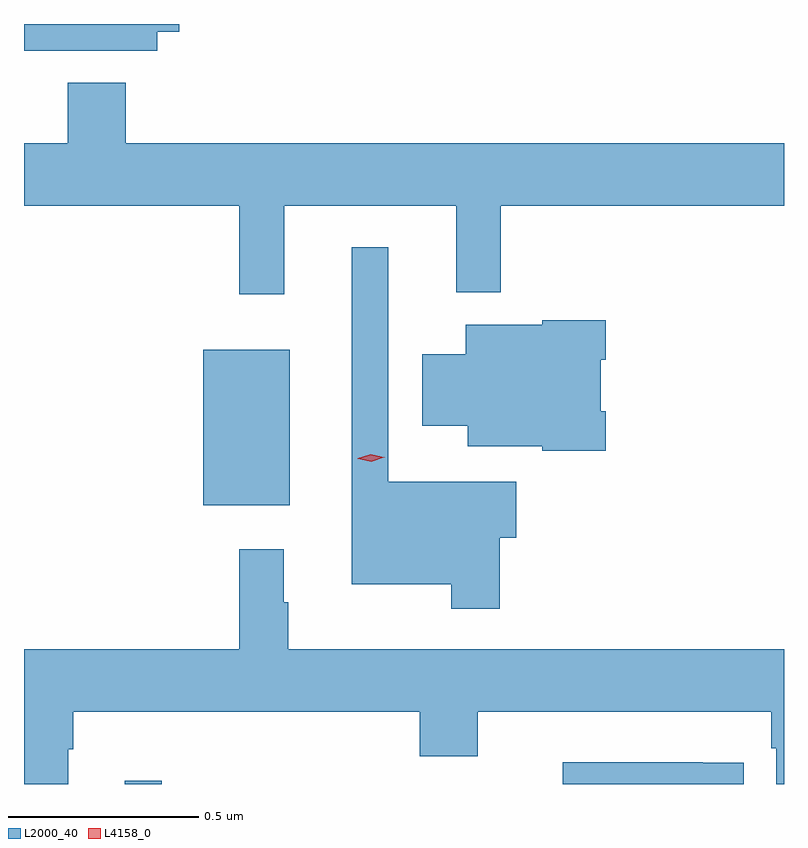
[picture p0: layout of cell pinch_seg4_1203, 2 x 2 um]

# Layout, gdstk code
import gdstk
lib = gdstk.Library(unit=1e-6, precision=1e-09)
def R(c, l, rs):  # rectangles x0, y0, x1, y1
    for r in rs: c.add(gdstk.rectangle(r[:2], r[2:], *l))
def P(c, l, *ps):  # polygons
    for p in ps: c.add(gdstk.Polygon(p, *l))
L2000_40 = (2000, 40)
L4158_0 = (4158, 0)

pinch_seg4_1203 = lib.new_cell('pinch_seg4_1203')
R(pinch_seg4_1203, L2000_40, [(426.875,777.982,426.972,777.991), (427.082,778.715,427.309,779.125)])
P(pinch_seg4_1203, L2000_40, [(426.961,779.962),(427.018,779.962),(427.018,779.982),(426.61,779.982),(426.61,779.912),(426.961,779.912)],
  [(427.295,779.504),(427.748,779.504),(427.748,779.276),(427.865,779.276),(427.865,779.504),(428.61,779.504),(428.61,779.668),(426.878,779.668),(426.878,779.827),(426.725,779.827),(426.725,779.668),(426.61,779.668),(426.61,779.504),(427.177,779.504),(427.177,779.271),(427.295,779.271)],
  [(427.862,778.63),(427.906,778.63),(427.906,778.777),(427.569,778.777),(427.569,779.395),(427.472,779.395),(427.472,778.508),(427.734,778.508),(427.734,778.443),(427.862,778.443)],
  [(428.141,778.963),(428.128,778.963),(428.128,779.099),(428.141,779.099),(428.141,779.203),(427.974,779.203),(427.974,779.191),(427.772,779.191),(427.772,779.113),(427.658,779.113),(427.658,778.925),(427.778,778.925),(427.778,778.871),(427.974,778.871),(427.974,778.859),(428.141,778.859)],
  [(426.727,778.074),(426.74,778.074),(426.74,778.172),(427.652,778.172),(427.652,778.055),(427.804,778.055),(427.804,778.172),(428.576,778.172),(428.576,778.076),(428.589,778.076),(428.589,777.982),(428.61,777.982),(428.61,778.336),(427.306,778.336),(427.306,778.46),(427.294,778.46),(427.294,778.6),(427.177,778.6),(427.177,778.336),(426.61,778.336),(426.61,777.982),(426.727,777.982)],
  [(428.504,778.038),(428.396,778.038),(428.396,778.039),(428.028,778.039),(428.028,777.982),(428.504,777.982)])
P(pinch_seg4_1203, L4158_0, [(427.524,778.83),(427.488,778.838),(427.488,778.838),(427.488,778.839),(427.523,778.85),(427.558,778.842),(427.559,778.842),(427.558,778.842)])

lib.write_gds('pinch_seg4_1203.gds')
